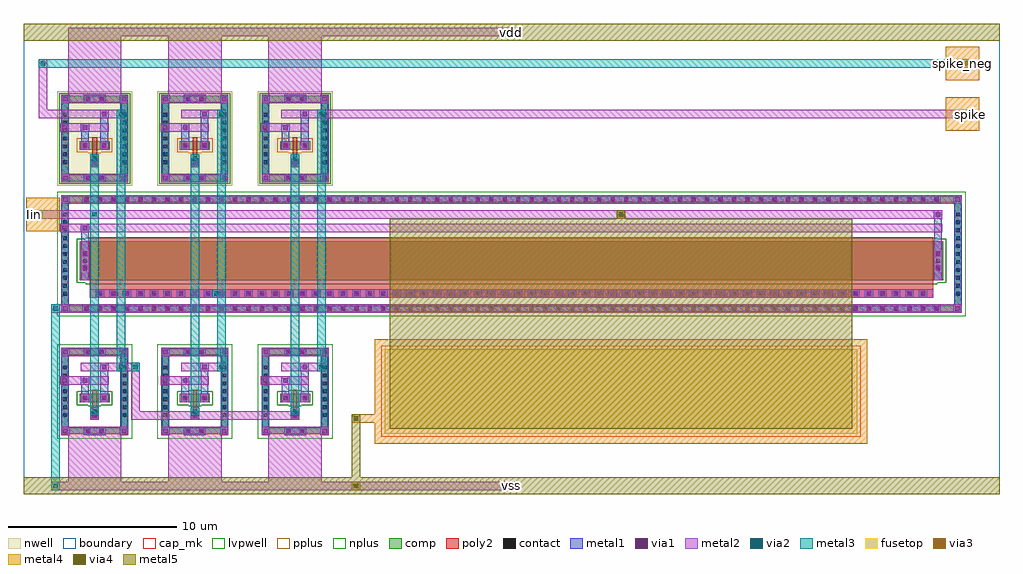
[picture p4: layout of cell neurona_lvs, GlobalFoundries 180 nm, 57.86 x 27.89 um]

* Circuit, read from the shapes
.subckt neurona_lvs Iin spike spike_neg vdd vss
XM1 Iin n1 vss vss nfet_03v3 w=2.3u l=50u
XM2 spike_neg Iin vss vss nfet_03v3 w=0.5u l=0.28u
XM3 n1 spike_neg vss vss nfet_03v3 w=0.5u l=0.28u
XM4 spike spike_neg vss vss nfet_03v3 w=0.5u l=0.28u
XM5 spike_neg Iin vdd vdd pfet_03v3 w=0.5u l=0.28u
XM6 n1 spike_neg vdd vdd pfet_03v3 w=0.5u l=0.28u
XM7 spike spike_neg vdd vdd pfet_03v3 w=0.5u l=0.28u
XC8 n2 vss cap_mim_2f0fF c_width=28u c_length=5u
.ends

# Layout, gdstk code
import gdstk
lib = gdstk.Library(unit=1e-6, precision=1e-09)
def R(c, l, rs):  # rectangles x0, y0, x1, y1
    for r in rs: c.add(gdstk.rectangle(r[:2], r[2:], *l))
def A(c, l, x, y, w, h, nx, ny, dx, dy):  # array of equal rectangles
    R(c, l, [(x+i*dx, y+j*dy, x+i*dx+w, y+j*dy+h) for i in range(nx) for j in range(ny)])
boundary = (0, 0)
nwell = (21, 0)
comp = (22, 0)
poly2 = (30, 0)
pplus = (31, 0)
nplus = (32, 0)
contact = (33, 0)
metal1 = (34, 0)
via1 = (35, 0)
metal2 = (36, 0)
via2 = (38, 0)
via3 = (40, 0)
via4 = (41, 0)
metal3 = (42, 0)
metal4 = (46, 0)
fusetop = (75, 0)
metal5 = (81, 0)
cap_mk = (117, 5)
lvpwell = (204, 0)

straight_route_53a4cb04 = lib.new_cell('straight_route_53a4cb04')
R(straight_route_53a4cb04, metal2, [(1.97,1.105,2.47,1.855)])

via_stack_db8f27e1_1 = lib.new_cell('via_stack_db8f27e1$1')
R(via_stack_db8f27e1_1, metal2, [(-0.25,-0.25,0.25,0.25)])
R(via_stack_db8f27e1_1, via2, [(-0.13,-0.13,0.13,0.13)])
R(via_stack_db8f27e1_1, metal3, [(-0.25,-0.25,0.25,0.25)])

straight_route_6d2a1bc3 = lib.new_cell('straight_route_6d2a1bc3')
R(straight_route_6d2a1bc3, metal1, [(0.19,3.195,0.69,3.695)])
R(straight_route_6d2a1bc3, via1, [(0.31,3.315,0.57,3.575)])
R(straight_route_6d2a1bc3, metal2, [(0.19,3.195,1.4,3.695)])

c_m2 = lib.new_cell('m2')
R(c_m2, comp, [(-1.94,-2.52,1.94,-2.16), (-1.94,-2.16,-1.58,2.16), (1.58,-2.16,1.94,2.16), (-0.89,-0.655,0.89,-0.155), (-1.94,2.16,1.94,2.52)])
R(c_m2, poly2, [(-0.25,-1.695,0.25,-1.195), (-0.14,-1.195,0.14,0.085)])
R(c_m2, pplus, [(-0.61,-2.55,0.61,-2.54), (-1.96,-2.54,1.96,-2.14), (-1.96,-2.14,-1.56,-1.62), (-0.61,-2.14,0.61,-2.13), (1.56,-2.14,1.96,-1.62), (-1.97,-1.62,-1.55,1.62), (1.55,-1.62,1.97,1.62), (-1.96,1.62,-1.56,2.14), (1.56,1.62,1.96,2.14), (-0.61,2.13,0.61,2.14), (-1.96,2.14,1.96,2.54), (-0.61,2.54,0.61,2.55)])
R(c_m2, nplus, [(-0.37,-0.885,0.37,-0.815), (-1.05,-0.815,1.05,0.005), (-0.37,0.005,0.37,0.075)])
A(c_m2, contact, -1.87, -1.52, 0.22, 0.22, 1, 7, 0, 0.47)
A(c_m2, contact, 1.65, -1.52, 0.22, 0.22, 1, 7, 0, 0.47)
R(c_m2, contact, [(-0.51,-2.45,-0.29,-2.23), (0.29,-2.45,0.51,-2.23), (-0.11,-1.555,0.11,-1.335), (-0.68,-0.515,-0.46,-0.295), (0.46,-0.515,0.68,-0.295), (-0.51,2.23,-0.29,2.45), (0.29,2.23,0.51,2.45)])
R(c_m2, metal1, [(-1.99,-2.59,-1.49,-2.09), (-0.65,-2.59,0.65,-2.09), (1.49,-2.59,1.99,-2.09), (-1.99,-2.09,-1.53,2.09), (1.53,-2.09,1.99,2.09), (-0.25,-1.695,0.25,-1.195), (-0.82,-0.655,-0.32,-0.155), (0.32,-0.655,0.82,-0.155), (-0.8,-0.155,-0.34,0.395), (0.34,-0.155,0.8,1.195), (-0.82,0.395,-0.32,0.895), (0.32,1.195,0.82,1.695), (-1.99,2.09,-1.49,2.59), (-0.65,2.09,0.65,2.59), (1.49,2.09,1.99,2.59)])
R(c_m2, via1, [(-1.87,-2.47,-1.61,-2.21), (-0.53,-2.47,-0.27,-2.21), (0.27,-2.47,0.53,-2.21), (1.61,-2.47,1.87,-2.21), (-0.13,-1.575,0.13,-1.315), (-0.7,-0.535,-0.44,-0.275), (0.44,-0.535,0.7,-0.275), (-0.7,0.515,-0.44,0.775), (0.44,1.315,0.7,1.575), (-1.87,2.21,-1.61,2.47), (-0.53,2.21,-0.27,2.47), (0.27,2.21,0.53,2.47), (1.61,2.21,1.87,2.47)])
R(c_m2, metal2, [(-1.99,-2.59,1.99,-2.09), (-0.25,-1.695,0.25,-1.195), (-0.82,-0.655,-0.32,-0.155), (0.32,-0.655,0.82,-0.155), (-0.82,0.395,0.82,0.895), (-0.82,1.195,0.82,1.695), (-1.99,2.09,1.99,2.59)])
R(c_m2, lvpwell, [(-2.22,-2.8,2.22,2.8)])

straight_route_dcf617a3 = lib.new_cell('straight_route_dcf617a3')
R(straight_route_dcf617a3, metal2, [(8.41,1.105,13.85,1.605)])

l_route_f6a98f74 = lib.new_cell('L_route_f6a98f74')
R(l_route_f6a98f74, metal2, [(4.39,1.105,7.91,1.605), (4.39,1.605,4.89,3.995)])

straight_route_ddcd9658 = lib.new_cell('straight_route_ddcd9658')
R(straight_route_ddcd9658, metal2, [(7.91,1.105,8.41,1.855)])

via_stack_db8f27e1_3 = lib.new_cell('via_stack_db8f27e1$3')
R(via_stack_db8f27e1_3, metal2, [(-0.25,-0.25,0.25,0.25)])
R(via_stack_db8f27e1_3, via2, [(-0.13,-0.13,0.13,0.13)])
R(via_stack_db8f27e1_3, metal3, [(-0.25,-0.25,0.25,0.25)])

straight_route_56a2289f = lib.new_cell('straight_route_56a2289f')
R(straight_route_56a2289f, metal1, [(6.13,3.195,6.63,3.695)])
R(straight_route_56a2289f, via1, [(6.25,3.315,6.51,3.575)])
R(straight_route_56a2289f, metal2, [(6.13,3.195,7.34,3.695)])

c_m4 = lib.new_cell('m4')
R(c_m4, comp, [(-1.94,-2.52,1.94,-2.16), (-1.94,-2.16,-1.58,2.16), (1.58,-2.16,1.94,2.16), (-0.89,-0.655,0.89,-0.155), (-1.94,2.16,1.94,2.52)])
R(c_m4, poly2, [(-0.25,-1.695,0.25,-1.195), (-0.14,-1.195,0.14,0.085)])
R(c_m4, pplus, [(-0.61,-2.55,0.61,-2.54), (-1.96,-2.54,1.96,-2.14), (-1.96,-2.14,-1.56,-1.62), (-0.61,-2.14,0.61,-2.13), (1.56,-2.14,1.96,-1.62), (-1.97,-1.62,-1.55,1.62), (1.55,-1.62,1.97,1.62), (-1.96,1.62,-1.56,2.14), (1.56,1.62,1.96,2.14), (-0.61,2.13,0.61,2.14), (-1.96,2.14,1.96,2.54), (-0.61,2.54,0.61,2.55)])
R(c_m4, nplus, [(-0.37,-0.885,0.37,-0.815), (-1.05,-0.815,1.05,0.005), (-0.37,0.005,0.37,0.075)])
A(c_m4, contact, -1.87, -1.52, 0.22, 0.22, 1, 7, 0, 0.47)
A(c_m4, contact, 1.65, -1.52, 0.22, 0.22, 1, 7, 0, 0.47)
R(c_m4, contact, [(-0.51,-2.45,-0.29,-2.23), (0.29,-2.45,0.51,-2.23), (-0.11,-1.555,0.11,-1.335), (-0.68,-0.515,-0.46,-0.295), (0.46,-0.515,0.68,-0.295), (-0.51,2.23,-0.29,2.45), (0.29,2.23,0.51,2.45)])
R(c_m4, metal1, [(-1.99,-2.59,-1.49,-2.09), (-0.65,-2.59,0.65,-2.09), (1.49,-2.59,1.99,-2.09), (-1.99,-2.09,-1.53,2.09), (1.53,-2.09,1.99,2.09), (-0.25,-1.695,0.25,-1.195), (-0.82,-0.655,-0.32,-0.155), (0.32,-0.655,0.82,-0.155), (-0.8,-0.155,-0.34,0.395), (0.34,-0.155,0.8,1.195), (-0.82,0.395,-0.32,0.895), (0.32,1.195,0.82,1.695), (-1.99,2.09,-1.49,2.59), (-0.65,2.09,0.65,2.59), (1.49,2.09,1.99,2.59)])
R(c_m4, via1, [(-1.87,-2.47,-1.61,-2.21), (-0.53,-2.47,-0.27,-2.21), (0.27,-2.47,0.53,-2.21), (1.61,-2.47,1.87,-2.21), (-0.13,-1.575,0.13,-1.315), (-0.7,-0.535,-0.44,-0.275), (0.44,-0.535,0.7,-0.275), (-0.7,0.515,-0.44,0.775), (0.44,1.315,0.7,1.575), (-1.87,2.21,-1.61,2.47), (-0.53,2.21,-0.27,2.47), (0.27,2.21,0.53,2.47), (1.61,2.21,1.87,2.47)])
R(c_m4, metal2, [(-1.99,-2.59,1.99,-2.09), (-0.25,-1.695,0.25,-1.195), (-0.82,-0.655,-0.32,-0.155), (0.32,-0.655,0.82,-0.155), (-0.82,0.395,0.82,0.895), (-0.82,1.195,0.82,1.695), (-1.99,2.09,1.99,2.59)])
R(c_m4, lvpwell, [(-2.22,-2.8,2.22,2.8)])

straight_route_e1a548f4 = lib.new_cell('straight_route_e1a548f4')
R(straight_route_e1a548f4, metal1, [(12.07,3.195,12.57,3.695)])
R(straight_route_e1a548f4, via1, [(12.19,3.315,12.45,3.575)])
R(straight_route_e1a548f4, metal2, [(12.07,3.195,13.28,3.695)])

c_m8 = lib.new_cell('m8')
R(c_m8, comp, [(-1.94,-2.52,1.94,-2.16), (-1.94,-2.16,-1.58,2.16), (1.58,-2.16,1.94,2.16), (-0.89,-0.655,0.89,-0.155), (-1.94,2.16,1.94,2.52)])
R(c_m8, poly2, [(-0.25,-1.695,0.25,-1.195), (-0.14,-1.195,0.14,0.085)])
R(c_m8, pplus, [(-0.61,-2.55,0.61,-2.54), (-1.96,-2.54,1.96,-2.14), (-1.96,-2.14,-1.56,-1.62), (-0.61,-2.14,0.61,-2.13), (1.56,-2.14,1.96,-1.62), (-1.97,-1.62,-1.55,1.62), (1.55,-1.62,1.97,1.62), (-1.96,1.62,-1.56,2.14), (1.56,1.62,1.96,2.14), (-0.61,2.13,0.61,2.14), (-1.96,2.14,1.96,2.54), (-0.61,2.54,0.61,2.55)])
R(c_m8, nplus, [(-0.37,-0.885,0.37,-0.815), (-1.05,-0.815,1.05,0.005), (-0.37,0.005,0.37,0.075)])
A(c_m8, contact, -1.87, -1.52, 0.22, 0.22, 1, 7, 0, 0.47)
A(c_m8, contact, 1.65, -1.52, 0.22, 0.22, 1, 7, 0, 0.47)
R(c_m8, contact, [(-0.51,-2.45,-0.29,-2.23), (0.29,-2.45,0.51,-2.23), (-0.11,-1.555,0.11,-1.335), (-0.68,-0.515,-0.46,-0.295), (0.46,-0.515,0.68,-0.295), (-0.51,2.23,-0.29,2.45), (0.29,2.23,0.51,2.45)])
R(c_m8, metal1, [(-1.99,-2.59,-1.49,-2.09), (-0.65,-2.59,0.65,-2.09), (1.49,-2.59,1.99,-2.09), (-1.99,-2.09,-1.53,2.09), (1.53,-2.09,1.99,2.09), (-0.25,-1.695,0.25,-1.195), (-0.82,-0.655,-0.32,-0.155), (0.32,-0.655,0.82,-0.155), (-0.8,-0.155,-0.34,0.395), (0.34,-0.155,0.8,1.195), (-0.82,0.395,-0.32,0.895), (0.32,1.195,0.82,1.695), (-1.99,2.09,-1.49,2.59), (-0.65,2.09,0.65,2.59), (1.49,2.09,1.99,2.59)])
R(c_m8, via1, [(-1.87,-2.47,-1.61,-2.21), (-0.53,-2.47,-0.27,-2.21), (0.27,-2.47,0.53,-2.21), (1.61,-2.47,1.87,-2.21), (-0.13,-1.575,0.13,-1.315), (-0.7,-0.535,-0.44,-0.275), (0.44,-0.535,0.7,-0.275), (-0.7,0.515,-0.44,0.775), (0.44,1.315,0.7,1.575), (-1.87,2.21,-1.61,2.47), (-0.53,2.21,-0.27,2.47), (0.27,2.21,0.53,2.47), (1.61,2.21,1.87,2.47)])
R(c_m8, metal2, [(-1.99,-2.59,1.99,-2.09), (-0.25,-1.695,0.25,-1.195), (-0.82,-0.655,-0.32,-0.155), (0.32,-0.655,0.82,-0.155), (-0.82,0.395,0.82,0.895), (-0.82,1.195,0.82,1.695), (-1.99,2.09,1.99,2.59)])
R(c_m8, lvpwell, [(-2.22,-2.8,2.22,2.8)])

c_route_1413264f = lib.new_cell('c_route_1413264f')
R(c_route_1413264f, metal2, [(17.47,-3.05,26.68,-2.55)])
R(c_route_1413264f, via2, [(17.59,-2.93,17.85,-2.67)])
R(c_route_1413264f, via3, [(17.59,-2.93,17.85,-2.67)])
R(c_route_1413264f, via4, [(17.59,-2.93,17.85,-2.67), (17.59,1.07,17.85,1.33)])
R(c_route_1413264f, metal3, [(17.47,-3.05,17.97,-2.55)])
R(c_route_1413264f, metal4, [(17.47,-3.05,17.97,-2.55), (17.47,0.95,19.97,1.45)])
R(c_route_1413264f, metal5, [(17.47,-3.05,17.97,1.45)])

straight_route_481d2178 = lib.new_cell('straight_route_481d2178')
R(straight_route_481d2178, metal2, [(13.85,1.105,14.35,1.855)])

via_stack_db8f27e1_5 = lib.new_cell('via_stack_db8f27e1$5')
R(via_stack_db8f27e1_5, metal2, [(-0.25,-0.25,0.25,0.25)])
R(via_stack_db8f27e1_5, via2, [(-0.13,-0.13,0.13,0.13)])
R(via_stack_db8f27e1_5, metal3, [(-0.25,-0.25,0.25,0.25)])

l_route_33c645ae = lib.new_cell('L_route_33c645ae')
R(l_route_33c645ae, metal2, [(12.52,-3.05,26.68,-2.55), (12.52,-2.55,15.68,0.21)])

via_stack_b843013f_1 = lib.new_cell('via_stack_b843013f$1')
R(via_stack_b843013f_1, metal2, [(-0.25,-0.25,0.25,0.25)])
R(via_stack_b843013f_1, via2, [(-0.13,-0.13,0.13,0.13)])
R(via_stack_b843013f_1, via3, [(-0.13,-0.13,0.13,0.13)])
R(via_stack_b843013f_1, via4, [(-0.13,-0.13,0.13,0.13)])
R(via_stack_b843013f_1, metal3, [(-0.25,-0.25,0.25,0.25)])
R(via_stack_b843013f_1, metal4, [(-0.25,-0.25,0.25,0.25)])
R(via_stack_b843013f_1, metal5, [(-0.25,-0.25,0.25,0.25)])

l_route_2285d065 = lib.new_cell('L_route_2285d065')
R(l_route_2285d065, metal2, [(6.58,-3.05,26.68,-2.55), (6.58,-2.55,9.74,0.21)])

l_route_16eb19f2 = lib.new_cell('L_route_16eb19f2')
R(l_route_16eb19f2, metal2, [(0.64,-3.05,26.68,-2.55), (0.64,-2.55,3.8,0.21)])

compass_9b95c421_1 = lib.new_cell('compass_9b95c421$1')
R(compass_9b95c421_1, metal5, [(-28.93,-0.5,28.93,0.5)])

rectangle_9b95c421_1 = lib.new_cell('rectangle_9b95c421$1')
rectangle_9b95c421_1.add(gdstk.Reference(compass_9b95c421_1, (28.93,0.5)))

cap = lib.new_cell('cap')
R(cap, metal4, [(-14.6,-3.1,14.6,3.1)])
R(cap, fusetop, [(-14,-2.5,14,2.5)])
R(cap, metal5, [(-13.72,-2.22,13.72,2.22)])
R(cap, cap_mk, [(-14.2,-2.7,14.2,2.7)])

straight_route_b24133ba = lib.new_cell('straight_route_b24133ba')
R(straight_route_b24133ba, metal2, [(3.04,3.995,4.39,4.495)])

via_stack_d8f45b10 = lib.new_cell('via_stack_d8f45b10')
R(via_stack_d8f45b10, metal2, [(-0.25,-0.25,0.25,0.25)])
R(via_stack_d8f45b10, via2, [(-0.13,-0.13,0.13,0.13)])
R(via_stack_d8f45b10, metal3, [(-0.25,-0.25,0.25,0.25)])

straight_route_92746b26 = lib.new_cell('straight_route_92746b26')
R(straight_route_92746b26, metal2, [(33.17,13.035,33.67,13.535)])
R(straight_route_92746b26, via2, [(33.29,13.155,33.55,13.415)])
R(straight_route_92746b26, via3, [(33.29,13.155,33.55,13.415)])
R(straight_route_92746b26, via4, [(33.29,13.155,33.55,13.415)])
R(straight_route_92746b26, metal3, [(33.17,13.035,33.67,13.535)])
R(straight_route_92746b26, metal4, [(33.17,13.035,33.67,13.535)])
R(straight_route_92746b26, metal5, [(19.7,5.02,47.14,13.035), (33.17,13.035,33.67,13.535)])

c_route_c9285d5b = lib.new_cell('c_route_c9285d5b')
R(c_route_c9285d5b, metal2, [(-0.36,-3.05,26.68,-2.55), (-0.36,7.455,0.64,7.955)])
R(c_route_c9285d5b, via2, [(-0.24,-2.93,0.02,-2.67), (-0.24,7.575,0.02,7.835)])
R(c_route_c9285d5b, metal3, [(-0.36,-3.05,0.14,7.955)])

c_m5 = lib.new_cell('m5')
R(c_m5, comp, [(-26.65,-3.415,26.65,-3.055), (-26.65,-3.055,-26.29,3.055), (26.29,-3.055,26.65,3.055), (-25.6,-1.555,25.6,0.745), (-26.65,3.055,26.65,3.415)])
R(c_m5, poly2, [(-25,-2.595,25,0.985)])
R(c_m5, pplus, [(-25.41,-3.445,25.41,-3.435), (-26.67,-3.435,26.67,-3.035), (-26.67,-3.035,-26.27,-2.56), (-25.41,-3.035,25.41,-3.025), (26.27,-3.035,26.67,-2.56), (-26.68,-2.56,-26.26,2.56), (26.26,-2.56,26.68,2.56), (-26.67,2.56,-26.27,3.035), (26.27,2.56,26.67,3.035), (-25.41,3.025,25.41,3.035), (-26.67,3.035,26.67,3.435), (-25.41,3.435,25.41,3.445)])
R(c_m5, nplus, [(-25.23,-1.785,25.23,-1.715), (-25.76,-1.715,25.76,0.905), (-25.23,0.905,25.23,0.975)])
A(c_m5, contact, -25.31, -3.345, 0.22, 0.22, 64, 2, 0.8, 6.47)
A(c_m5, contact, -26.58, -2.46, 0.22, 0.22, 1, 11, 0, 0.47)
A(c_m5, contact, 26.36, -2.46, 0.22, 0.22, 1, 11, 0, 0.47)
A(c_m5, contact, -24.51, -2.455, 0.22, 0.22, 62, 1, 0.8, 0)
A(c_m5, contact, -25.39, -0.985, 0.22, 0.22, 1, 3, 0, 0.47)
A(c_m5, contact, 25.17, -0.985, 0.22, 0.22, 1, 3, 0, 0.47)
A(c_m5, metal1, -24.65, -2.595, 0.5, 0.5, 62, 1, 0.8, 0)
R(c_m5, metal1, [(-26.7,-3.485,-26.2,-2.985), (-25.45,-3.485,25.45,-2.985), (26.2,-3.485,26.7,-2.985), (-26.7,-2.985,-26.24,2.985), (26.24,-2.985,26.7,2.985), (-25.51,-1.555,-25.05,-1.055), (25.05,-1.555,25.51,-1.055), (-25.53,-1.055,-25.03,0.245), (25.03,-1.055,25.53,0.245), (-25.51,0.245,-25.05,1.295), (25.05,0.245,25.51,2.095), (-25.53,1.295,-25.03,1.795), (25.03,2.095,25.53,2.595), (-26.7,2.985,-26.2,3.485), (-25.45,2.985,25.45,3.485), (26.2,2.985,26.7,3.485)])
A(c_m5, via1, -25.33, -3.365, 0.26, 0.26, 64, 2, 0.8, 6.47)
A(c_m5, via1, -24.53, -2.475, 0.26, 0.26, 62, 1, 0.8, 0)
R(c_m5, via1, [(-26.58,-3.365,-26.32,-3.105), (26.32,-3.365,26.58,-3.105), (-25.41,-0.935,-25.15,-0.675), (25.15,-0.935,25.41,-0.675), (-25.41,-0.135,-25.15,0.125), (25.15,-0.135,25.41,0.125), (-25.41,1.415,-25.15,1.675), (25.15,2.215,25.41,2.475), (-26.58,3.105,-26.32,3.365), (26.32,3.105,26.58,3.365)])
R(c_m5, metal2, [(-26.7,-3.485,26.7,-2.985), (-25,-2.595,25,-2.095), (-25.53,-1.555,-25.03,0.745), (25.03,-1.555,25.53,0.745), (-25.53,1.295,25.53,1.795), (-25.53,2.095,25.53,2.595), (-26.7,2.985,26.7,3.485)])
R(c_m5, lvpwell, [(-26.93,-3.695,26.93,3.695)])

compass_669c8fc8 = lib.new_cell('compass_669c8fc8')
R(compass_669c8fc8, metal4, [(-1,-1,1,1)])

iin_metal = lib.new_cell('iin_metal')
iin_metal.add(gdstk.Reference(compass_669c8fc8, (1,1)))

straight_route_996c362e = lib.new_cell('straight_route_996c362e')
R(straight_route_996c362e, metal2, [(-0.85,13.035,1.4,13.535)])

via_stack_c8581f42 = lib.new_cell('via_stack_c8581f42')
R(via_stack_c8581f42, metal2, [(-0.25,-0.25,0.25,0.25)])
R(via_stack_c8581f42, via2, [(-0.13,-0.13,0.13,0.13)])
R(via_stack_c8581f42, via3, [(-0.13,-0.13,0.13,0.13)])
R(via_stack_c8581f42, metal3, [(-0.25,-0.25,0.25,0.25)])
R(via_stack_c8581f42, metal4, [(-0.25,-0.25,0.25,0.25)])

straight_route_9664698a = lib.new_cell('straight_route_9664698a')
R(straight_route_9664698a, metal2, [(1.97,16.095,2.47,16.595)])

straight_route_ed3a1993 = lib.new_cell('straight_route_ed3a1993')
R(straight_route_ed3a1993, metal1, [(0.19,12.235,0.69,12.735)])
R(straight_route_ed3a1993, via1, [(0.31,12.355,0.57,12.615)])
R(straight_route_ed3a1993, metal2, [(0.19,12.235,1.4,12.735)])

c_m1 = lib.new_cell('m1')
R(c_m1, nwell, [(-2.22,-2.8,2.22,2.8)])
R(c_m1, comp, [(-1.94,-2.52,1.94,-2.16), (-1.94,-2.16,-1.58,2.16), (1.58,-2.16,1.94,2.16), (-0.89,-0.655,0.89,-0.155), (-1.94,2.16,1.94,2.52)])
R(c_m1, poly2, [(-0.25,-1.695,0.25,-1.195), (-0.14,-1.195,0.14,0.085)])
R(c_m1, pplus, [(-0.37,-0.885,0.37,-0.815), (-1.05,-0.815,1.05,0.005), (-0.37,0.005,0.37,0.075)])
R(c_m1, nplus, [(-2.1,-2.68,2.1,-2.14), (-2.1,-2.14,-1.56,-1.62), (-0.61,-2.14,0.61,-2.13), (1.56,-2.14,2.1,-1.62), (-2.1,-1.62,-1.55,1.62), (1.55,-1.62,2.1,1.62), (-2.1,1.62,-1.56,2.14), (1.56,1.62,2.1,2.14), (-0.61,2.13,0.61,2.14), (-2.1,2.14,2.1,2.68)])
A(c_m1, contact, -1.87, -1.52, 0.22, 0.22, 1, 7, 0, 0.47)
A(c_m1, contact, 1.65, -1.52, 0.22, 0.22, 1, 7, 0, 0.47)
R(c_m1, contact, [(-0.51,-2.45,-0.29,-2.23), (0.29,-2.45,0.51,-2.23), (-0.11,-1.555,0.11,-1.335), (-0.68,-0.515,-0.46,-0.295), (0.46,-0.515,0.68,-0.295), (-0.51,2.23,-0.29,2.45), (0.29,2.23,0.51,2.45)])
R(c_m1, metal1, [(-1.99,-2.59,-1.49,-2.09), (-0.65,-2.59,0.65,-2.09), (1.49,-2.59,1.99,-2.09), (-1.99,-2.09,-1.53,2.09), (1.53,-2.09,1.99,2.09), (-0.25,-1.695,0.25,-1.195), (-0.82,-0.655,-0.32,-0.155), (0.32,-0.655,0.82,-0.155), (-0.8,-0.155,-0.34,0.395), (0.34,-0.155,0.8,1.195), (-0.82,0.395,-0.32,0.895), (0.32,1.195,0.82,1.695), (-1.99,2.09,-1.49,2.59), (-0.65,2.09,0.65,2.59), (1.49,2.09,1.99,2.59)])
R(c_m1, via1, [(-1.87,-2.47,-1.61,-2.21), (-0.53,-2.47,-0.27,-2.21), (0.27,-2.47,0.53,-2.21), (1.61,-2.47,1.87,-2.21), (-0.13,-1.575,0.13,-1.315), (-0.7,-0.535,-0.44,-0.275), (0.44,-0.535,0.7,-0.275), (-0.7,0.515,-0.44,0.775), (0.44,1.315,0.7,1.575), (-1.87,2.21,-1.61,2.47), (-0.53,2.21,-0.27,2.47), (0.27,2.21,0.53,2.47), (1.61,2.21,1.87,2.47)])
R(c_m1, metal2, [(-1.99,-2.59,1.99,-2.09), (-0.25,-1.695,0.25,-1.195), (-0.82,-0.655,-0.32,-0.155), (0.32,-0.655,0.82,-0.155), (-0.82,0.395,0.82,0.895), (-0.82,1.195,0.82,1.695), (-1.99,2.09,1.99,2.59)])

c_m3 = lib.new_cell('m3')
R(c_m3, nwell, [(-2.22,-2.8,2.22,2.8)])
R(c_m3, comp, [(-1.94,-2.52,1.94,-2.16), (-1.94,-2.16,-1.58,2.16), (1.58,-2.16,1.94,2.16), (-0.89,-0.655,0.89,-0.155), (-1.94,2.16,1.94,2.52)])
R(c_m3, poly2, [(-0.25,-1.695,0.25,-1.195), (-0.14,-1.195,0.14,0.085)])
R(c_m3, pplus, [(-0.37,-0.885,0.37,-0.815), (-1.05,-0.815,1.05,0.005), (-0.37,0.005,0.37,0.075)])
R(c_m3, nplus, [(-2.1,-2.68,2.1,-2.14), (-2.1,-2.14,-1.56,-1.62), (-0.61,-2.14,0.61,-2.13), (1.56,-2.14,2.1,-1.62), (-2.1,-1.62,-1.55,1.62), (1.55,-1.62,2.1,1.62), (-2.1,1.62,-1.56,2.14), (1.56,1.62,2.1,2.14), (-0.61,2.13,0.61,2.14), (-2.1,2.14,2.1,2.68)])
A(c_m3, contact, -1.87, -1.52, 0.22, 0.22, 1, 7, 0, 0.47)
A(c_m3, contact, 1.65, -1.52, 0.22, 0.22, 1, 7, 0, 0.47)
R(c_m3, contact, [(-0.51,-2.45,-0.29,-2.23), (0.29,-2.45,0.51,-2.23), (-0.11,-1.555,0.11,-1.335), (-0.68,-0.515,-0.46,-0.295), (0.46,-0.515,0.68,-0.295), (-0.51,2.23,-0.29,2.45), (0.29,2.23,0.51,2.45)])
R(c_m3, metal1, [(-1.99,-2.59,-1.49,-2.09), (-0.65,-2.59,0.65,-2.09), (1.49,-2.59,1.99,-2.09), (-1.99,-2.09,-1.53,2.09), (1.53,-2.09,1.99,2.09), (-0.25,-1.695,0.25,-1.195), (-0.82,-0.655,-0.32,-0.155), (0.32,-0.655,0.82,-0.155), (-0.8,-0.155,-0.34,0.395), (0.34,-0.155,0.8,1.195), (-0.82,0.395,-0.32,0.895), (0.32,1.195,0.82,1.695), (-1.99,2.09,-1.49,2.59), (-0.65,2.09,0.65,2.59), (1.49,2.09,1.99,2.59)])
R(c_m3, via1, [(-1.87,-2.47,-1.61,-2.21), (-0.53,-2.47,-0.27,-2.21), (0.27,-2.47,0.53,-2.21), (1.61,-2.47,1.87,-2.21), (-0.13,-1.575,0.13,-1.315), (-0.7,-0.535,-0.44,-0.275), (0.44,-0.535,0.7,-0.275), (-0.7,0.515,-0.44,0.775), (0.44,1.315,0.7,1.575), (-1.87,2.21,-1.61,2.47), (-0.53,2.21,-0.27,2.47), (0.27,2.21,0.53,2.47), (1.61,2.21,1.87,2.47)])
R(c_m3, metal2, [(-1.99,-2.59,1.99,-2.09), (-0.25,-1.695,0.25,-1.195), (-0.82,-0.655,-0.32,-0.155), (0.32,-0.655,0.82,-0.155), (-0.82,0.395,0.82,0.895), (-0.82,1.195,0.82,1.695), (-1.99,2.09,1.99,2.59)])

straight_route_a858edcb = lib.new_cell('straight_route_a858edcb')
R(straight_route_a858edcb, metal2, [(7.91,16.095,8.41,16.595)])

c_m7 = lib.new_cell('m7')
R(c_m7, nwell, [(-2.22,-2.8,2.22,2.8)])
R(c_m7, comp, [(-1.94,-2.52,1.94,-2.16), (-1.94,-2.16,-1.58,2.16), (1.58,-2.16,1.94,2.16), (-0.89,-0.655,0.89,-0.155), (-1.94,2.16,1.94,2.52)])
R(c_m7, poly2, [(-0.25,-1.695,0.25,-1.195), (-0.14,-1.195,0.14,0.085)])
R(c_m7, pplus, [(-0.37,-0.885,0.37,-0.815), (-1.05,-0.815,1.05,0.005), (-0.37,0.005,0.37,0.075)])
R(c_m7, nplus, [(-2.1,-2.68,2.1,-2.14), (-2.1,-2.14,-1.56,-1.62), (-0.61,-2.14,0.61,-2.13), (1.56,-2.14,2.1,-1.62), (-2.1,-1.62,-1.55,1.62), (1.55,-1.62,2.1,1.62), (-2.1,1.62,-1.56,2.14), (1.56,1.62,2.1,2.14), (-0.61,2.13,0.61,2.14), (-2.1,2.14,2.1,2.68)])
A(c_m7, contact, -1.87, -1.52, 0.22, 0.22, 1, 7, 0, 0.47)
A(c_m7, contact, 1.65, -1.52, 0.22, 0.22, 1, 7, 0, 0.47)
R(c_m7, contact, [(-0.51,-2.45,-0.29,-2.23), (0.29,-2.45,0.51,-2.23), (-0.11,-1.555,0.11,-1.335), (-0.68,-0.515,-0.46,-0.295), (0.46,-0.515,0.68,-0.295), (-0.51,2.23,-0.29,2.45), (0.29,2.23,0.51,2.45)])
R(c_m7, metal1, [(-1.99,-2.59,-1.49,-2.09), (-0.65,-2.59,0.65,-2.09), (1.49,-2.59,1.99,-2.09), (-1.99,-2.09,-1.53,2.09), (1.53,-2.09,1.99,2.09), (-0.25,-1.695,0.25,-1.195), (-0.82,-0.655,-0.32,-0.155), (0.32,-0.655,0.82,-0.155), (-0.8,-0.155,-0.34,0.395), (0.34,-0.155,0.8,1.195), (-0.82,0.395,-0.32,0.895), (0.32,1.195,0.82,1.695), (-1.99,2.09,-1.49,2.59), (-0.65,2.09,0.65,2.59), (1.49,2.09,1.99,2.59)])
R(c_m7, via1, [(-1.87,-2.47,-1.61,-2.21), (-0.53,-2.47,-0.27,-2.21), (0.27,-2.47,0.53,-2.21), (1.61,-2.47,1.87,-2.21), (-0.13,-1.575,0.13,-1.315), (-0.7,-0.535,-0.44,-0.275), (0.44,-0.535,0.7,-0.275), (-0.7,0.515,-0.44,0.775), (0.44,1.315,0.7,1.575), (-1.87,2.21,-1.61,2.47), (-0.53,2.21,-0.27,2.47), (0.27,2.21,0.53,2.47), (1.61,2.21,1.87,2.47)])
R(c_m7, metal2, [(-1.99,-2.59,1.99,-2.09), (-0.25,-1.695,0.25,-1.195), (-0.82,-0.655,-0.32,-0.155), (0.32,-0.655,0.82,-0.155), (-0.82,0.395,0.82,0.895), (-0.82,1.195,0.82,1.695), (-1.99,2.09,1.99,2.59)])

straight_route_a6495afa = lib.new_cell('straight_route_a6495afa')
R(straight_route_a6495afa, metal2, [(13.85,16.095,14.35,16.595)])

compass_c22e7f21 = lib.new_cell('compass_c22e7f21')
R(compass_c22e7f21, boundary, [(-28.93,-13.945,28.93,13.945)])

rectangle_c22e7f21 = lib.new_cell('rectangle_c22e7f21')
rectangle_c22e7f21.add(gdstk.Reference(compass_c22e7f21, (28.93,13.945)))

via_stack_db8f27e1_4 = lib.new_cell('via_stack_db8f27e1$4')
R(via_stack_db8f27e1_4, metal2, [(-0.25,-0.25,0.25,0.25)])
R(via_stack_db8f27e1_4, via2, [(-0.13,-0.13,0.13,0.13)])
R(via_stack_db8f27e1_4, metal3, [(-0.25,-0.25,0.25,0.25)])

via_stack_db8f27e1_2 = lib.new_cell('via_stack_db8f27e1$2')
R(via_stack_db8f27e1_2, metal2, [(-0.25,-0.25,0.25,0.25)])
R(via_stack_db8f27e1_2, via2, [(-0.13,-0.13,0.13,0.13)])
R(via_stack_db8f27e1_2, metal3, [(-0.25,-0.25,0.25,0.25)])

via_stack_db8f27e1 = lib.new_cell('via_stack_db8f27e1')
R(via_stack_db8f27e1, metal2, [(-0.25,-0.25,0.25,0.25)])
R(via_stack_db8f27e1, via2, [(-0.13,-0.13,0.13,0.13)])
R(via_stack_db8f27e1, metal3, [(-0.25,-0.25,0.25,0.25)])

straight_route_0f4b8453 = lib.new_cell('straight_route_0f4b8453')
R(straight_route_0f4b8453, metal1, [(12.07,18.185,12.57,18.685)])
R(straight_route_0f4b8453, via1, [(12.19,18.305,12.45,18.565)])
R(straight_route_0f4b8453, metal2, [(12.07,18.185,13.28,18.685)])

straight_route_d367c30d = lib.new_cell('straight_route_d367c30d')
R(straight_route_d367c30d, metal1, [(6.13,18.185,6.63,18.685)])
R(straight_route_d367c30d, via1, [(6.25,18.305,6.51,18.565)])
R(straight_route_d367c30d, metal2, [(6.13,18.185,7.34,18.685)])

straight_route_6b64639e = lib.new_cell('straight_route_6b64639e')
R(straight_route_6b64639e, metal1, [(0.19,18.185,0.69,18.685)])
R(straight_route_6b64639e, via1, [(0.31,18.305,0.57,18.565)])
R(straight_route_6b64639e, metal2, [(0.19,18.185,1.4,18.685)])

l_route_ab30fc68 = lib.new_cell('L_route_ab30fc68')
R(l_route_ab30fc68, metal2, [(12.52,20.38,15.68,23.84), (12.52,23.84,26.68,24.34)])

l_route_b5e7b31b = lib.new_cell('L_route_b5e7b31b')
R(l_route_b5e7b31b, metal2, [(6.58,20.38,9.74,23.84), (6.58,23.84,26.68,24.34)])

l_route_0d6dd8b1 = lib.new_cell('L_route_0d6dd8b1')
R(l_route_0d6dd8b1, metal2, [(0.64,20.38,3.8,23.84), (0.64,23.84,26.68,24.34)])

compass_669c8fc8_2 = lib.new_cell('compass_669c8fc8$2')
R(compass_669c8fc8_2, metal4, [(-1,-1,1,1)])

spike_metal = lib.new_cell('spike_metal')
spike_metal.add(gdstk.Reference(compass_669c8fc8_2, (1,1)))

compass_669c8fc8_1 = lib.new_cell('compass_669c8fc8$1')
R(compass_669c8fc8_1, metal4, [(-1,-1,1,1)])

spike_neg_metal = lib.new_cell('spike_neg_metal')
spike_neg_metal.add(gdstk.Reference(compass_669c8fc8_1, (1,1)))

via_stack_c8581f42_1 = lib.new_cell('via_stack_c8581f42$1')
R(via_stack_c8581f42_1, metal2, [(-0.25,-0.25,0.25,0.25)])
R(via_stack_c8581f42_1, via2, [(-0.13,-0.13,0.13,0.13)])
R(via_stack_c8581f42_1, via3, [(-0.13,-0.13,0.13,0.13)])
R(via_stack_c8581f42_1, metal3, [(-0.25,-0.25,0.25,0.25)])
R(via_stack_c8581f42_1, metal4, [(-0.25,-0.25,0.25,0.25)])

c_route_29733b11 = lib.new_cell('c_route_29733b11')
R(c_route_29733b11, metal2, [(-1.1,18.985,1.4,19.485), (-1.1,19.485,-0.6,22.485)])
R(c_route_29733b11, via2, [(-0.98,22.105,-0.72,22.365)])
R(c_route_29733b11, metal3, [(-1.1,21.985,53.67,22.485)])

straight_route_d8570c63 = lib.new_cell('straight_route_d8570c63')
R(straight_route_d8570c63, metal2, [(14.92,18.985,54.17,19.485)])

via_stack_b06eda24 = lib.new_cell('via_stack_b06eda24')
R(via_stack_b06eda24, via3, [(-0.13,-0.13,0.13,0.13)])
R(via_stack_b06eda24, metal3, [(-0.25,-0.25,0.25,0.25)])
R(via_stack_b06eda24, metal4, [(-0.25,-0.25,0.25,0.25)])

compass_9b95c421 = lib.new_cell('compass_9b95c421')
R(compass_9b95c421, metal5, [(-28.93,-0.5,28.93,0.5)])

rectangle_9b95c421 = lib.new_cell('rectangle_9b95c421')
rectangle_9b95c421.add(gdstk.Reference(compass_9b95c421, (28.93,0.5)))

c_route_78f674dd = lib.new_cell('c_route_78f674dd')
R(c_route_78f674dd, metal2, [(14.92,3.995,15.92,4.495), (14.92,18.985,15.92,19.485)])
R(c_route_78f674dd, via2, [(15.54,4.115,15.8,4.375), (15.54,19.105,15.8,19.365)])
R(c_route_78f674dd, metal3, [(15.42,3.995,15.92,19.485)])

straight_route_1953e087 = lib.new_cell('straight_route_1953e087')
R(straight_route_1953e087, metal3, [(13.85,1.855,14.35,16.345)])

c_route_05c46c31 = lib.new_cell('c_route_05c46c31')
R(c_route_05c46c31, metal2, [(8.98,3.995,9.98,4.495), (8.98,18.985,9.98,19.485)])
R(c_route_05c46c31, via2, [(9.6,4.115,9.86,4.375), (9.6,19.105,9.86,19.365)])
R(c_route_05c46c31, metal3, [(9.48,3.995,9.98,19.485)])

straight_route_088ac183 = lib.new_cell('straight_route_088ac183')
R(straight_route_088ac183, metal3, [(7.91,1.855,8.41,16.345)])

c_route_2bfcd837 = lib.new_cell('c_route_2bfcd837')
R(c_route_2bfcd837, metal2, [(3.04,3.995,4.04,4.495), (3.04,18.985,4.04,19.485)])
R(c_route_2bfcd837, via2, [(3.66,4.115,3.92,4.375), (3.66,19.105,3.92,19.365)])
R(c_route_2bfcd837, metal3, [(3.54,3.995,4.04,19.485)])

straight_route_ac39e755 = lib.new_cell('straight_route_ac39e755')
R(straight_route_ac39e755, metal3, [(1.97,1.855,2.47,16.345)])

neurona_lvs = lib.new_cell('neurona_lvs')
R(neurona_lvs, boundary, [(0,0,57.86,27.89)])
neurona_lvs.add(gdstk.Reference(straight_route_53a4cb04, (2,3.3)))
neurona_lvs.add(gdstk.Reference(via_stack_db8f27e1_1, (4.22,4.905)))
neurona_lvs.add(gdstk.Reference(straight_route_6d2a1bc3, (2,3.3)))
neurona_lvs.add(gdstk.Reference(c_m2, (4.22,6.1)))
neurona_lvs.add(gdstk.Reference(straight_route_dcf617a3, (2,3.3)))
neurona_lvs.add(gdstk.Reference(l_route_f6a98f74, (2,3.3)))
neurona_lvs.add(gdstk.Reference(straight_route_ddcd9658, (2,3.3)))
neurona_lvs.add(gdstk.Reference(via_stack_db8f27e1_3, (10.16,4.905)))
neurona_lvs.add(gdstk.Reference(straight_route_56a2289f, (2,3.3)))
neurona_lvs.add(gdstk.Reference(c_m4, (10.16,6.1)))
neurona_lvs.add(gdstk.Reference(straight_route_e1a548f4, (2,3.3)))
neurona_lvs.add(gdstk.Reference(c_m8, (16.1,6.1)))
neurona_lvs.add(gdstk.Reference(c_route_1413264f, (2,3.3)))
neurona_lvs.add(gdstk.Reference(straight_route_481d2178, (2,3.3)))
neurona_lvs.add(gdstk.Reference(via_stack_db8f27e1_5, (16.1,4.905)))
neurona_lvs.add(gdstk.Reference(l_route_33c645ae, (2,3.3)))
neurona_lvs.add(gdstk.Reference(via_stack_b843013f_1, (28.93,0.5)))
neurona_lvs.add(gdstk.Reference(l_route_2285d065, (2,3.3)))
neurona_lvs.add(gdstk.Reference(l_route_16eb19f2, (2,3.3)))
neurona_lvs.add(gdstk.Reference(rectangle_9b95c421_1, (0,0)))
neurona_lvs.add(gdstk.Reference(cap, (35.42,6.1)))
neurona_lvs.add(gdstk.Reference(straight_route_b24133ba, (2,3.3)))
neurona_lvs.add(gdstk.Reference(via_stack_d8f45b10, (6.64,7.545)))
neurona_lvs.add(gdstk.Reference(via_stack_db8f27e1_3, (11.43,11.895)))
neurona_lvs.add(gdstk.Reference(straight_route_92746b26, (2,3.3)))
neurona_lvs.add(gdstk.Reference(c_route_c9285d5b, (2,3.3)))
neurona_lvs.add(gdstk.Reference(c_m5, (28.93,14.24)))
neurona_lvs.add(gdstk.Reference(iin_metal, (0.15,15.585)))
neurona_lvs.add(gdstk.Reference(straight_route_996c362e, (2,3.3)))
neurona_lvs.add(gdstk.Reference(via_stack_c8581f42, (0.9,16.585)))
neurona_lvs.add(gdstk.Reference(via_stack_db8f27e1_1, (4.22,16.595)))
neurona_lvs.add(gdstk.Reference(straight_route_9664698a, (2,3.3)))
neurona_lvs.add(gdstk.Reference(straight_route_ed3a1993, (2,3.3)))
neurona_lvs.add(gdstk.Reference(c_m1, (4.22,21.09)))
neurona_lvs.add(gdstk.Reference(c_m3, (10.16,21.09)))
neurona_lvs.add(gdstk.Reference(straight_route_a858edcb, (2,3.3)))
neurona_lvs.add(gdstk.Reference(c_m7, (16.1,21.09)))
neurona_lvs.add(gdstk.Reference(straight_route_a6495afa, (2,3.3)))
neurona_lvs.add(gdstk.Reference(rectangle_c22e7f21, (0,0)))
neurona_lvs.add(gdstk.Reference(via_stack_db8f27e1_4, (16.1,19.895)))
neurona_lvs.add(gdstk.Reference(via_stack_db8f27e1_2, (10.16,19.895)))
neurona_lvs.add(gdstk.Reference(via_stack_db8f27e1, (4.22,19.895)))
neurona_lvs.add(gdstk.Reference(straight_route_0f4b8453, (2,3.3)))
neurona_lvs.add(gdstk.Reference(straight_route_d367c30d, (2,3.3)))
neurona_lvs.add(gdstk.Reference(straight_route_6b64639e, (2,3.3)))
neurona_lvs.add(gdstk.Reference(l_route_ab30fc68, (2,3.3)))
neurona_lvs.add(gdstk.Reference(l_route_b5e7b31b, (2,3.3)))
neurona_lvs.add(gdstk.Reference(l_route_0d6dd8b1, (2,3.3)))
neurona_lvs.add(gdstk.Reference(spike_metal, (54.67,21.535)))
neurona_lvs.add(gdstk.Reference(spike_neg_metal, (54.67,24.535)))
neurona_lvs.add(gdstk.Reference(via_stack_c8581f42_1, (55.92,22.535)))
neurona_lvs.add(gdstk.Reference(c_route_29733b11, (2,3.3)))
neurona_lvs.add(gdstk.Reference(straight_route_d8570c63, (2,3.3)))
neurona_lvs.add(gdstk.Reference(via_stack_b06eda24, (55.92,25.535)))
neurona_lvs.add(gdstk.Reference(via_stack_b843013f_1, (28.93,27.39)))
neurona_lvs.add(gdstk.Reference(rectangle_9b95c421, (0,26.89)))
neurona_lvs.add(gdstk.Reference(c_route_78f674dd, (2,3.3)))
neurona_lvs.add(gdstk.Reference(straight_route_1953e087, (2,3.3)))
neurona_lvs.add(gdstk.Reference(c_route_05c46c31, (2,3.3)))
neurona_lvs.add(gdstk.Reference(straight_route_088ac183, (2,3.3)))
neurona_lvs.add(gdstk.Reference(c_route_2bfcd837, (2,3.3)))
neurona_lvs.add(gdstk.Reference(straight_route_ac39e755, (2,3.3)))
neurona_lvs.add(gdstk.Label('vss', (28.93,0.5), layer=81, texttype=10))
neurona_lvs.add(gdstk.Label('vdd', (28.93,27.39), layer=81, texttype=10))
neurona_lvs.add(gdstk.Label('Iin', (0.65,16.585), layer=46, texttype=10))
neurona_lvs.add(gdstk.Label('spike_neg', (55.67,25.535), layer=46, texttype=10))
neurona_lvs.add(gdstk.Label('spike', (56.17,22.535), layer=46, texttype=10))

lib.write_gds('neurona_lvs.gds')
